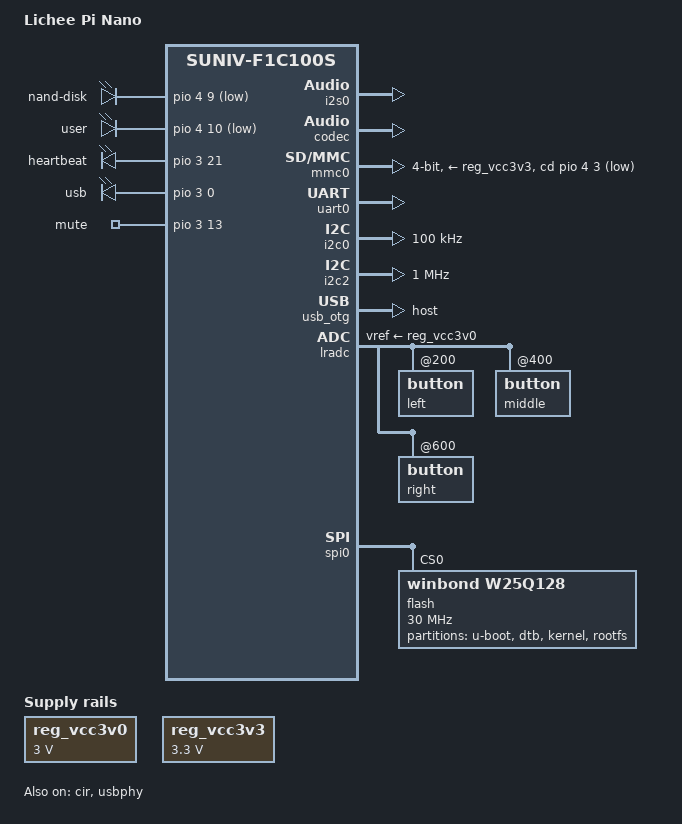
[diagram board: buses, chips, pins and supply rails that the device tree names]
// SPDX-License-Identifier: (GPL-2.0+ OR X11)
/*
 * Copyright 2018 Icenowy Zheng <icenowy@aosc.io>
 */

/dts-v1/;
#include "suniv-f1c100s.dtsi"
#include <dt-bindings/gpio/gpio.h>
#include <dt-bindings/input/input.h>
#include <dt-bindings/interrupt-controller/irq.h>
#include "sunxi-common-regulators.dtsi"

/ {
	model = "Lichee Pi Nano";
	compatible = "licheepi,licheepi-nano", "allwinner,suniv-f1c100s";

	aliases {
		serial0 = &uart0;
	};

	chosen {
		stdout-path = "serial0:115200n8";
	};

	/*keys {
		compatible = "gpio-keys";
		
		key1{
			label = "left-button";
			linux,code = <114>;
			gpios = <&pio 3 12 GPIO_ACTIVE_LOW>;	// PD12
			debounce-interval = <10>;
		};

		key2{
			label = "right-button";
			linux,code = <115>;
			gpios = <&pio 3 13 GPIO_ACTIVE_LOW>;	// PD13
			debounce-interval = <10>;
		};
	};*/

	leds {
		compatible = "gpio-leds";

		green_led {
			label = "nand-disk";
			linux,default-trigger = "nand-disk";
			default-state = "off";
			gpios = <&pio 4 9 GPIO_ACTIVE_LOW>; /* PE9 */
		};

		red_led {
			label = "user";
			linux,default-trigger = "rc-feedback";
			gpios = <&pio 4 10 GPIO_ACTIVE_LOW>; /* PE10 */
			default-state = "off";
		};

		onboard_led {
			label = "heartbeat";
			gpios = <&pio 3 21 GPIO_ACTIVE_HIGH>; /* PD21 */
			default-state = "off";
			linux,default-trigger = "heartbeat";
		};

		usb_switch {
			label = "usb";
			gpios = <&pio 3 0 GPIO_ACTIVE_HIGH>; /* PD0 */
			default-state = "on";
		};

		mute_crtl {
			label = "mute";
			gpios = <&pio 3 13 GPIO_ACTIVE_HIGH>; /* PD13 */
			default-state = "off";
		};
	};

	pcm5102a: pcm510x {
		compatible = "ti,pcm5102a";
		pcm510x,format = "i2s";
		status = "okay";
		#sound-dai-cells = <0>;
	};

	sound_i2s {
		compatible = "simple-audio-card";
		simple-audio-card,name = "I2S-master";
		simple-audio-card,format = "i2s";
		simple-audio-card,mclk-fs = <256>;

		status = "okay";

		simple-audio-card,cpu {
			sound-dai = <&i2s0>;
		};

		simple-audio-card,codec {
			// sound-dai = <&tas5825m>;
			sound-dai = <&pcm5102a>;
			// sound-dai = <&pcm5122>;
		};
	};

	reg_vcc3v0: vcc3v0 {
        compatible = "regulator-fixed";
        regulator-name = "vcc3v0";
        regulator-min-microvolt = <3000000>;
        regulator-max-microvolt = <3000000>;
    };

	reg_vcc3v3: vcc3v3 {
		compatible = "regulator-fixed";
		regulator-name = "vcc3v3";
		regulator-min-microvolt = <3300000>;
		regulator-max-microvolt = <3300000>;
	};
};

&i2s0 {
	// sound-dai = <&pcm5122>;
	sound-dai = <&pcm5102a>;
	pinctrl-names = "default";
	pinctrl-0 = <&i2s_pins>;
	status = "okay";
};

&cir {
	pinctrl-names = "default";
	pinctrl-0 = <&cir_pins_a>;
	linux,rc-map-name = "rc-alientek";
	status = "okay";
};

&codec {
    allwinner,audio-routing =
    "Headphone", "HP",
    "Headphone", "HPCOM",
	"LINEIN", "Line In",
	"FMINL", "Left FM In",
	"FMINR", "Right FM In",
    "MIC", "Mic";
    status = "okay";
};

&pwm {
	pinctrl-names = "default";
	pinctrl-0 = <&pwm1_pin>;
	status = "disabled";
};

&mmc0 {
	vmmc-supply = <&reg_vcc3v3>;
	bus-width = <4>;
	cd-gpios = <&pio 4 3 GPIO_ACTIVE_LOW>;
	status = "okay";
};

&uart0 {
	pinctrl-names = "default";
	pinctrl-0 = <&uart0_pe_pins>;
	status = "okay";
};

&i2c0 {
    pinctrl-0 = <&i2c0_pins>;
    pinctrl-names = "default";
	clock-frequency = <100000>;
    status = "okay";

	/*tas5825m: tas5825m@4d {
		compatible = "ti,tas5825m";
		reg = <0x4d>;
		status = "okay";
		#sound-dai-cells = <0>;
		clocks = <&ccu CLK_I2S>;
	};*/

	/*pcm5122: pcm5122@4c {
		compatible = "ti,pcm5122";
		reg = <0x4c>;
		clocks = <&ccu CLK_I2S>;
		status = "disabled";
		#sound-dai-cells = <0>;
		AVDD-supply = <&reg_vcc3v3>;
		DVDD-supply = <&reg_vcc3v3>;
		CPVDD-supply = <&reg_vcc3v3>;
	};*/

	/*sabre9018q2c@48 {
		#sound-dai-cells = <0>;
		compatible = "ess,es9018k2m";
		reg = <0x48>;
		status = "okay";
	};*/

};

&i2c2 {
    pinctrl-0 = <&i2c2_pins>;
    pinctrl-names = "default";
	clock-frequency = <1000000>;
    status = "okay";
};

&otg_sram {
	status = "okay";
};

&usb_otg {
	dr_mode = "host";  // otg / host / peripheral
	status = "okay";
};

&usbphy {
	//usb0_id_det-gpio = <&pio 4 2 GPIO_ACTIVE_HIGH>; /* PE2 */
	status = "okay";
};

&lradc {
	vref-supply = <&reg_vcc3v0>;
	status = "okay";

	button@200 {
			label = "left";
			linux,code = <132>;
			channel = <0>;
			voltage = <0>;
	};

	button@400 {
			label = "middle";
			linux,code = <133>;
			channel = <0>;
			voltage = <603174>;
	};

	button@600 {
			label = "right";
			linux,code = <134>;
			channel = <0>;
			voltage = <1047619>;
	};
};

&spi0 {
	pinctrl-names = "default";
	pinctrl-0 = <&spi0_pins_a>;
	status = "okay";
	spi-max-frequency = <30000000>;

	flash: w25q128@0 {
		#address-cells = <1>;
		#size-cells = <1>;
		spi-max-frequency = <30000000>;
		compatible = "winbond,w25q128", "jedec,spi-nor";
		reg = <0>;
		partitions {
			compatible = "fixed-partitions";
			#address-cells = <1>;
			#size-cells = <1>;

			partition@0 {
				label = "u-boot";
				reg = <0x000000 0x4B000>;
				read-only;
			};

			partition@4B000 {
				label = "dtb";
				reg = <0x4B000 0x5000>;
				read-only;
			};

			partition@50000 {
				label = "kernel";
				reg = <0x50000 0x300000>;
				read-only;
			};

			partition@350000 {
				label = "rootfs";
				reg = <0x350000 0x0CB0000>;
			};
		};
	};
};

